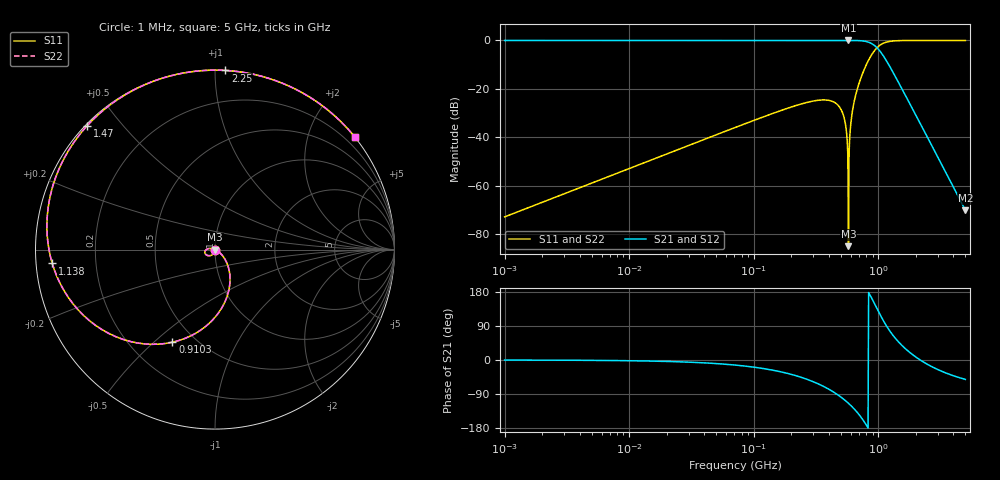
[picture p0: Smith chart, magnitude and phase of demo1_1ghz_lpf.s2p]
! Created with skrf 1.11.0 (http://scikit-rf.org).
# Hz S RI R 50.0
!freq ReS11 ImS11 ReS21 ImS21 ReS12 ImS12 ReS22 ImS22
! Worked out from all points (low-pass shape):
!   801 points, 1 MHz to 5 GHz, reference 50 ohm
!   highest |S21| = 0.00 dB at 575.9 MHz (marker M1); lowest = -70.2 dB at 5 GHz (marker M2)
!   |S21| within 3 dB of the highest: start of sweep to 975.3 MHz
!   lowest |S11| = -85.0 dB at 575.9 MHz (marker M3), VSWR 1.00, Z = 50 - j0.0023 ohm
!   |S11| at or under -10 dB: start of sweep to 801.7 MHz
!   |S22| runs from -85.0 to 0.0 dB; largest |S21 - S12| = 2.5e-13
!   S11 on the Smith chart (normalised r, x): 1 MHz: 1.00, -0.00; 910.3 MHz: 0.38, -0.57; 1.138 GHz: 0.05, -0.04; 1.47 GHz: 0.00, +0.40; 2.25 GHz: 0.00, +1.06; 5 GHz: 0.00, +2.84
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1000000  -7.45e-07 -0.000226  1 -0.00329  1 -0.00329  -7.45e-07 -0.000226
4164640  -1.29e-05 -0.000942  0.9999 -0.0137  0.9999 -0.0137  -1.29e-05 -0.000942
1.716055e7  -0.000219 -0.00387  0.9984 -0.0565  0.9984 -0.0565  -0.000219 -0.00387
7.071068e7  -0.00366 -0.0154  0.9729 -0.2308  0.9729 -0.2308  -0.00366 -0.0154
1.674965e8  -0.019 -0.0307  0.8503 -0.5251  0.8503 -0.5251  -0.019 -0.0307
2.944845e8  -0.0461 -0.0309  0.5564 -0.8291  0.5564 -0.8291  -0.0461 -0.0309
4.857099e8  -0.0427 0.00346  -0.0807 -0.9958  -0.0807 -0.9958  -0.0427 0.00346
5.288916e8  -0.0257 0.00634  -0.2391 -0.9706  -0.2391 -0.9706  -0.0257 0.00634
5.460568e8  -0.0171 0.00543  -0.302 -0.9531  -0.302 -0.9531  -0.0171 0.00543
5.578086e8  -0.0107 0.00392  -0.3448 -0.9386  -0.3448 -0.9386  -0.0107 0.00392
5.759123e8  5.12e-05 -2.3e-05  -0.4101 -0.912  -0.4101 -0.912  5.12e-05 -2.3e-05
5.946036e8  0.012 -0.00649  -0.4764 -0.8791  -0.4764 -0.8791  0.012 -0.00649
6.204722e8  0.0293 -0.0201  -0.5653 -0.8241  -0.5653 -0.8241  0.0293 -0.0201
6.614007e8  0.0563 -0.0549  -0.696 -0.7137  -0.696 -0.7137  0.0563 -0.0549
7.92625e8  0.0551 -0.2916  -0.9384 -0.1773  -0.9384 -0.1773  0.0551 -0.2916
9.102821e8  -0.2372 -0.5161  -0.7478 0.3438  -0.7478 0.3438  -0.2372 -0.5161
1.012542e9  -0.6293 -0.446  -0.3681 0.5192  -0.3681 0.5192  -0.6293 -0.446
1.138345e9  -0.9068 -0.077  -0.0351 0.4129  -0.0351 0.4129  -0.9068 -0.077
1.213434e9  -0.9361 0.1576  0.0522 0.3101  0.0522 0.3101  -0.9361 0.1576
1.469749e9  -0.7129 0.6895  0.0891 0.0921  0.0891 0.0921  -0.7129 0.6895
2.250047e9  0.0573 0.9982  0.0161 -0.000923  0.0161 -0.000923  0.0573 0.9982
5e9  0.7791 0.6269  0.000195 -0.000242  0.000195 -0.000242  0.7791 0.6269
